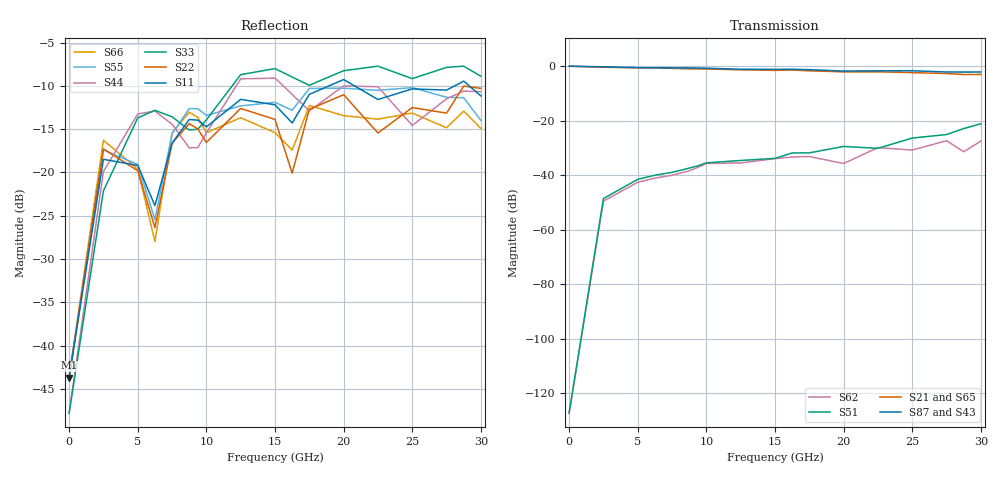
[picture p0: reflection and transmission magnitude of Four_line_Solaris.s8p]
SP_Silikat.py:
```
import matplotlib.pyplot as plt
import skrf as rf
from skrf import Network

plt.rcParams["font.family"] = "Century Gothic"
plt.rcParams["font.size"] = "14"

SP = Network('C:/Users/SH/Desktop/homework_V2/Рабочий стол/Утюг/Микрополосковая линия/S2P/Four_line_Solaris.s8p')


plt.figure()

SP.plot_s_db(m=2-1,    n=1-1, label='S21', linewidth ='3')
SP.plot_s_db(m=4-1,    n=3-1, label='S43', linewidth ='3')
SP.plot_s_db(m=6-1,    n=5-1, label='S65', linewidth ='3')
SP.plot_s_db(m=8-1,    n=7-1, label='S87', linewidth ='3')
plt.xlabel('F, Гц')
plt.ylabel('SP, дБ')
plt.grid()

plt.figure()

SP.plot_s_db(m=1-1,    n=1-1, label='S11', linewidth ='3')
SP.plot_s_db(m=3-1,    n=3-1, label='S33', linewidth ='3')
SP.plot_s_db(m=5-1,    n=5-1, label='S55', linewidth ='3')
SP.plot_s_db(m=7-1,    n=7-1, label='S77', linewidth ='3')
plt.xlabel('F, Гц')
plt.ylabel('SP, дБ')
plt.grid()


plt.show()
```
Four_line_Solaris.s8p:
! Created Tue Mar 30 08:37:34 2021
! List of port names and net name(s): example Port n = <port_name> <net_name1> <net_name2> ...
! Port 1 = P1_POS NPU_RXP_2 NPU_RXM_2
! Port 2 = P2_POS NPU_RXP_2 NPU_RXM_2
! Port 3 = P3_POS SATA_RX1P SATA_RX1N
! Port 4 = P4_POS SATA_RX1P SATA_RX1N
! Port 5 = P5_POS NPU_RXP_1 NPU_RXM_1
! Port 6 = P6_POS NPU_RXP_1 NPU_RXM_1
! Port 7 = P7_POS PCIE_RXM_14 PCIE_RXP_14
! Port 8 = P8_POS PCIE_RXM_14 PCIE_RXP_14
# hz S ri R 100
! 8 Port Network Data from data block
! freq  reS11  imS11  reS12  imS12  reS13  imS13  reS14  imS14
!  reS15  imS15  reS16  imS16  reS17  imS17  reS18  imS18
!  reS21  imS21  reS22  imS22  reS23  imS23  reS24  imS24
!  reS25  imS25  reS26  imS26  reS27  imS27  reS28  imS28
!  reS31  imS31  reS32  imS32  reS33  imS33  reS34  imS34
!  reS35  imS35  reS36  imS36  reS37  imS37  reS38  imS38
!  reS41  imS41  reS42  imS42  reS43  imS43  reS44  imS44
!  reS45  imS45  reS46  imS46  reS47  imS47  reS48  imS48
!  reS51  imS51  reS52  imS52  reS53  imS53  reS54  imS54
!  reS55  imS55  reS56  imS56  reS57  imS57  reS58  imS58
!  reS61  imS61  reS62  imS62  reS63  imS63  reS64  imS64
!  reS65  imS65  reS66  imS66  reS67  imS67  reS68  imS68
!  reS71  imS71  reS72  imS72  reS73  imS73  reS74  imS74
!  reS75  imS75  reS76  imS76  reS77  imS77  reS78  imS78
!  reS81  imS81  reS82  imS82  reS83  imS83  reS84  imS84
!  reS85  imS85  reS86  imS86  reS87  imS87  reS88  imS88
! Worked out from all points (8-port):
!   18 points, 300 kHz to 30 GHz, reference 100 ohm
!   strongest paths, dB at 300 kHz, 7.5 GHz, 15 GHz, 22.5 GHz, 30 GHz:
!     S87: 0.0, -0.7, -1.2, -1.7, -2.2
!     S43: 0.0, -0.7, -1.5, -2.0, -2.6
!     S21: -0.1, -0.8, -1.6, -2.1, -3.1
!     S65: -0.1, -0.9, -1.7, -2.2, -2.9
!     S51: -127.2, -39.0, -33.8, -30.2, -21.2
!     S62: -127.3, -40.0, -34.0, -29.9, -27.5
!   lowest |S11| = -43.7 dB at 300 kHz (marker M1), VSWR 1.01, Z = 101 + j0.0128 ohm
!   |S11| at or under -10 dB: start of sweep to 18.94 GHz; 20.78 GHz to 28.1 GHz (7.313 GHz wide, 29.9 % of centre); 29.15 GHz to end of sweep
